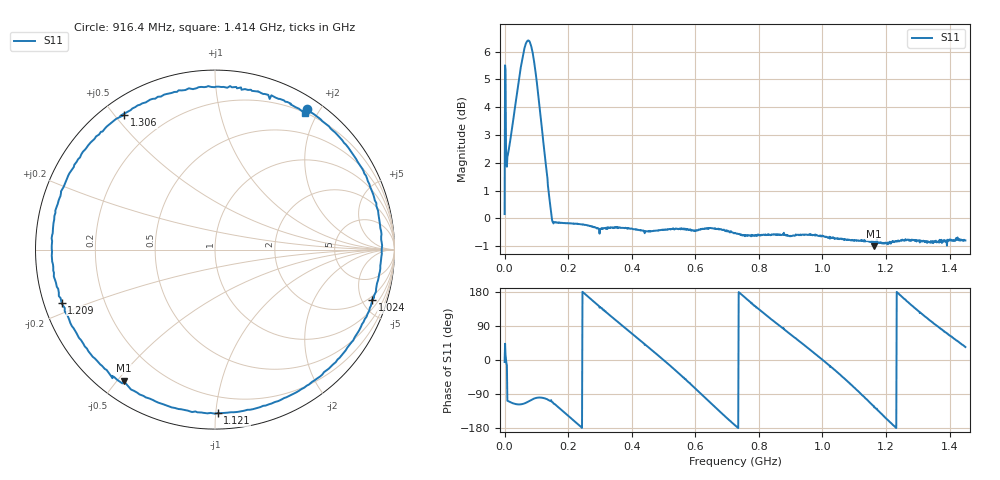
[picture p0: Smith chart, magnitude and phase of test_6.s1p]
! Created with skrf 1.11.0 (http://scikit-rf.org).
# Hz S RI R 50.0
!freq ReS11 ImS11
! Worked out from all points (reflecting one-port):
!   1001 points, 50 kHz to 1.45 GHz, reference 50 ohm
!   lowest |S11| = -1.0 dB at 1.163 GHz (marker M1), VSWR 17.37, Z = 3.66 - j26 ohm
!   phase of S11 starts at -5 deg and turns -1041 deg over the sweep
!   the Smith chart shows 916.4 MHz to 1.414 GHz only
!   S11 on the Smith chart (normalised r, x): 916.4 MHz: 0.15, +1.83; 1.024 GHz: 1.63, -5.93; 1.121 GHz: 0.09, -1.01; 1.209 GHz: 0.05, -0.17; 1.306 GHz: 0.06, +0.53; 1.414 GHz: 0.20, +1.84
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50000  1.014 -0.0936
1.599945e7  -0.4777 -1.274
5.079825e7  -0.8489 -1.663
7.54474e7  -0.6901 -1.973
1.17496e8  -0.2395 -1.43
1.812938e8  -0.6742 -0.7129
2.62491e8  -0.9467 0.2134
3.625375e8  -0.1039 0.9579
4.089359e8  0.4201 0.8586
4.64034e8  0.8565 0.4079
5.437812e8  0.8127 -0.5065
6.307782e8  -0.1574 -0.9441
6.815265e8  -0.7247 -0.6232
7.25025e8  -0.9333 -0.1247
8.236216e8  -0.438 0.8236
9.062688e8  0.4127 0.8337
9.164184e8  0.5101 0.7842
9.744164e8  0.8874 0.2877
1.023715e9  0.875 -0.2817
1.087512e9  0.4233 -0.8097
1.120861e9  0.0141 -0.9115
1.16291e9  -0.5094 -0.7311
1.209308e9  -0.8548 -0.2956
1.268756e9  -0.8174 0.4128
1.306455e9  -0.5052 0.7508
1.358653e9  -0.0205 0.9062
1.413751e9  0.5027 0.7626
1.45e9  0.7547 0.513
